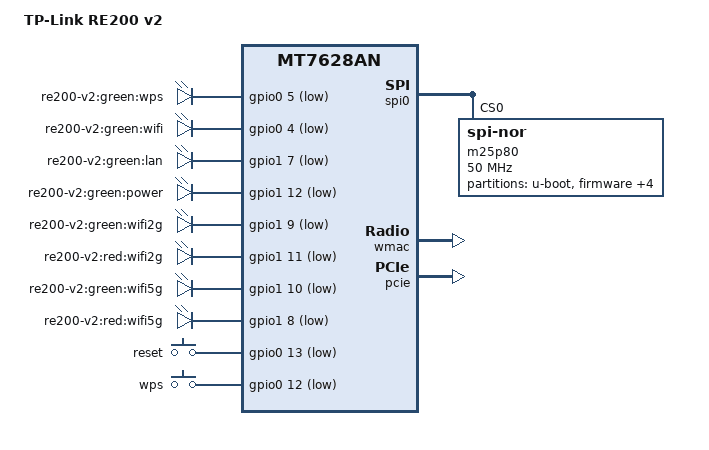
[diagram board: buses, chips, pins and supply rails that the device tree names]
// SPDX-License-Identifier: GPL-2.0-or-later OR MIT
/dts-v1/;

#include "mt7628an.dtsi"

#include <dt-bindings/gpio/gpio.h>
#include <dt-bindings/input/input.h>

/ {
	compatible = "tplink,re200-v2", "mediatek,mt7628an-soc";
	model = "TP-Link RE200 v2";

	aliases {
		led-boot = &led_power;
		led-failsafe = &led_power;
		led-running = &led_power;
 		led-upgrade = &led_power;
		label-mac-device = &ethernet;
	};

	chosen {
		bootargs = "console=ttyS0,57600n8";
	};

	leds {
		compatible = "gpio-leds";

		wps {
			label = "re200-v2:green:wps";
			gpios = <&gpio0 5 GPIO_ACTIVE_LOW>;
		};

		wifi {
			label = "re200-v2:green:wifi";
			gpios = <&gpio0 4 GPIO_ACTIVE_LOW>;
		};

		lan {
			label = "re200-v2:green:lan";
			gpios = <&gpio1 7 GPIO_ACTIVE_LOW>;
		};

		led_power: power {
			label = "re200-v2:green:power";
			gpios = <&gpio1 12 GPIO_ACTIVE_LOW>;
		};

		wifi2g_green {
			label = "re200-v2:green:wifi2g";
			gpios = <&gpio1 9 GPIO_ACTIVE_LOW>;
			linux,default-trigger = "phy0tpt";
		};

		wifi2g_red {
			label = "re200-v2:red:wifi2g";
			gpios = <&gpio1 11 GPIO_ACTIVE_LOW>;
		};

		wifi5g_green {
			label = "re200-v2:green:wifi5g";
			gpios = <&gpio1 10 GPIO_ACTIVE_LOW>;
			linux,default-trigger = "phy1tpt";
		};

		wifi5g_red {
			label = "re200-v2:red:wifi5g";
			gpios = <&gpio1 8 GPIO_ACTIVE_LOW>;
		};
	};

	keys {
		compatible = "gpio-keys";

		reset {
			label = "reset";
			gpios = <&gpio0 13 GPIO_ACTIVE_LOW>;
			linux,code = <KEY_RESTART>;
		};

		wps {
			label = "wps";
			gpios = <&gpio0 12 GPIO_ACTIVE_LOW>;
			linux,code = <KEY_WPS_BUTTON>;
		};
	};
};


&pinctrl {
	state_default: pinctrl0 {
		gpio {
			ralink,group = "p4led_an", "p3led_an", "p2led_an", "p1led_an", "p0led_an", "wled_an", "i2c";
			ralink,function = "gpio";
		};
	};
};

&spi0 {
	status = "okay";

	m25p80@0 {
		compatible = "jedec,spi-nor";
		reg = <0>;
		spi-max-frequency = <50000000>;

		partitions {
			compatible = "fixed-partitions";
			#address-cells = <1>;
			#size-cells = <1>;

			partition@0 {
				label = "u-boot";
				reg = <0x0 0x20000>;
				read-only;
			};

			partition@20000 {
				compatible = "tplink,firmware";
				label = "firmware";
				reg = <0x20000 0x7a0000>;
			};

			partition@7c0000 {
				label = "partition-table";
				reg = <0x7c0000 0x2000>;
				read-only;
			};

			info: partition@7c2000 {
				label = "info";
				reg = <0x7c2000 0xe000>;
				read-only;
			};

			partition@7d0000 {
				label = "config";
				reg = <0x7d0000 0x20000>;
				read-only;
			};

			radio: partition@7f0000 {
				label = "radio";
				reg = <0x7f0000 0x10000>;
				read-only;
			};
		};
	};
};

&gpio0 {
	status = "okay";
};

&gpio1 {
	status = "okay";
};

&ethernet {
	mtd-mac-address = <&info 0x8>;
};

&wmac {
	status = "okay";

	mediatek,mtd-eeprom = <&radio 0>;
	mtd-mac-address = <&info 0x8>;
	mtd-mac-address-increment = <1>;
};

&pcie {
	status = "okay";
};

&pcie0 {
	mt76@0,0 {
		reg = <0x0000 0 0 0 0>;
		mediatek,mtd-eeprom = <&radio 0x8000>;
		ieee80211-freq-limit = <5000000 6000000>;
		mtd-mac-address = <&info 0x8>;
		mtd-mac-address-increment = <2>;
	};
};
